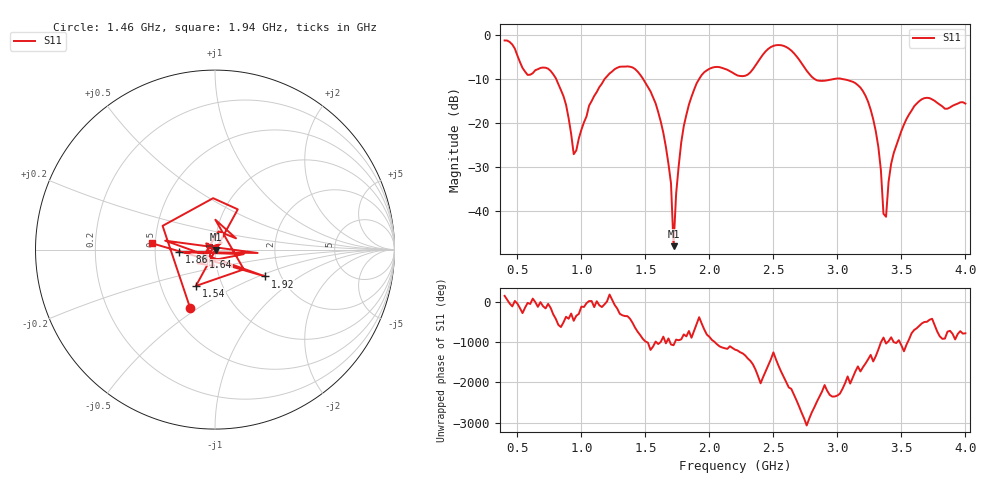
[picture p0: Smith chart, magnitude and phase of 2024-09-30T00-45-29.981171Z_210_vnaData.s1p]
!Created with skrf (http://scikit-rf.org).
# Hz S RI R 50.0
!freq ReS11 ImS11
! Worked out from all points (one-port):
!   181 points, 400 MHz to 4 GHz, reference 50 ohm
!   lowest |S11| = -48.1 dB at 1.72 GHz (marker M1), VSWR 1.01, Z = 50.4 - j0.00569 ohm
!   |S11| at or under -10 dB: 802.8 MHz to 1.181 GHz (378.4 MHz wide, 38.1 % of centre); 1.482 GHz to 1.92 GHz (437.3 MHz wide, 25.7 % of centre); 3.039 GHz to end of sweep (the widest 3 of 4)
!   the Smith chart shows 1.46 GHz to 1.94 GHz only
!   S11 on the Smith chart (normalised r, x): 1.46 GHz: 0.62, -0.46; 1.54 GHz: 0.75, -0.32; 1.64 GHz: 0.87, -0.07; 1.86 GHz: 0.67, -0.02; 1.92 GHz: 1.66, -0.55; 1.94 GHz: 0.48, +0.04
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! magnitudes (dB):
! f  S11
! 400 MHz  -1.2
! 760 MHz  -8.2
! 860 MHz  -13.9
! 940 MHz  -27.1
! 1.06 GHz  -16.1
! 1.3 GHz  -7.2
! 1.46 GHz  -9.1
! 1.54 GHz  -12.8
! 1.64 GHz  -22.2
! 1.7 GHz  -33.8
! 1.72 GHz  -48.1
! 1.76 GHz  -29.9
! 1.86 GHz  -14.1
! 1.92 GHz  -10.0
! 1.94 GHz  -9.1
! 2.2 GHz  -8.9
! 2.5 GHz  -2.4
! 2.66 GHz  -4.1
! 2.84 GHz  -10.3
! 3.1 GHz  -10.4
! 3.28 GHz  -19.2
! 3.34 GHz  -30.8
! 3.36 GHz  -40.7
! 3.38 GHz  -41.4
! 3.42 GHz  -29.3
! 3.56 GHz  -18.1
! 3.68 GHz  -14.4
! 4 GHz  -15.6
